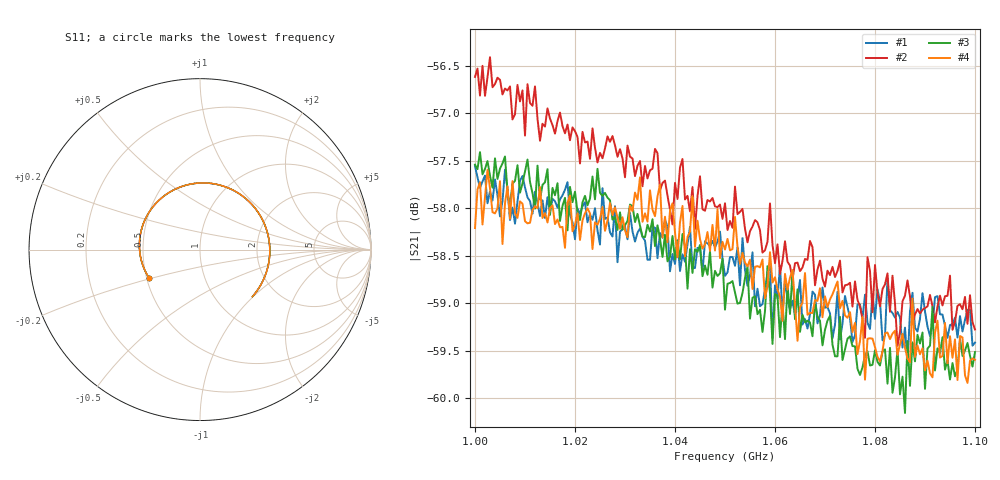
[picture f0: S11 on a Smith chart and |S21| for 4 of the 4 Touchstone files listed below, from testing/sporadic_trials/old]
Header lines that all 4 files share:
!Keysight Technologies N9923A: A.08.15
!Timezone: (GMT-05:00) Eastern Time (US & Canada)
!Model: N9923A
!Serial: MY52412730
!GPS Latitude:
!GPS Longitude:
!GPS TimeStamp: 0001-01-01 00:00:00Z
!GPS Seconds Since Last Read: 0
!Correction: S11(ON Q)S21(ON Q)S12(ON Q)S22(ON Q)
!S2P File: Measurements:S11,S21,S12,S22:
# Hz S DB R 50
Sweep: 1 GHz to 1.1 GHz
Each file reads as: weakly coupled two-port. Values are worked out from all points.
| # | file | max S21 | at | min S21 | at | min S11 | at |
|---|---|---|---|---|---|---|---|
| 1 | test1.s2p | -57.56 dB | 1 GHz | -59.7 dB | 1.087 GHz | -9.4 dB | 1 GHz |
| 2 | test2.s2p | -56.41 dB | 1.003 GHz | -59.5 dB | 1.085 GHz | -9.3 dB | 1 GHz |
| 3 | test3.s2p | -57.41 dB | 1.001 GHz | -60.2 dB | 1.086 GHz | -9.4 dB | 1 GHz |
| 4 | test4.s2p | -57.60 dB | 1.002 GHz | -59.8 dB | 1.099 GHz | -9.4 dB | 1 GHz |
